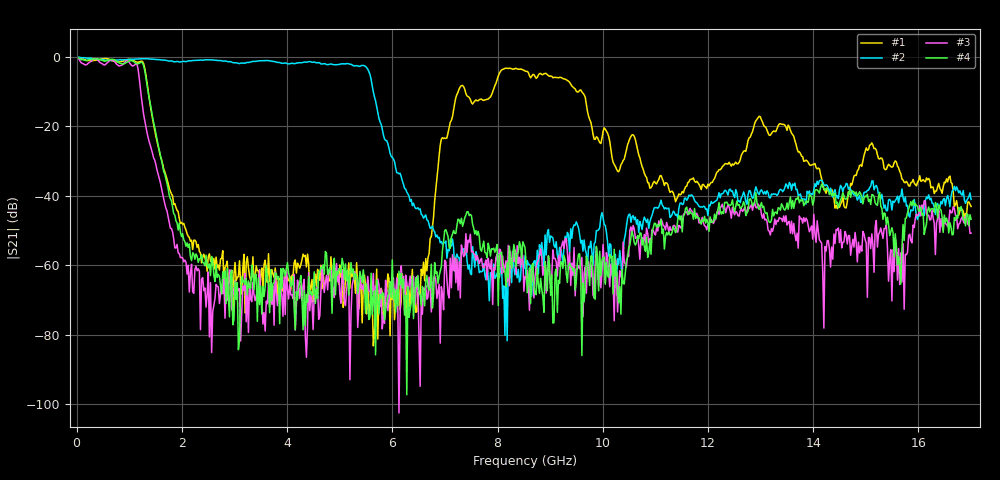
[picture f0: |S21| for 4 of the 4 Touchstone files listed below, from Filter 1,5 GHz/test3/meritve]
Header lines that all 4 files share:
! Touchstone 1.1 file saved by VNA.EXE V1.65 (www.ke5fx.com/gpib/readme.htm)
!  Source: HP8510C.07.14: Aug 26  1998
!  Min freq: 4.500000E+007 Hz
!  Max freq: 1.700000E+010 Hz
!  Points: 801
!  Params: S11 S21 S12 S22
# GHZ S DB R 50
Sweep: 45 MHz to 17 GHz
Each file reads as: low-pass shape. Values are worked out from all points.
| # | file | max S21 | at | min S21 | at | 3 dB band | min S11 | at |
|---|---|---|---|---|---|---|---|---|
| 1 | 2_1_5G_7red.S2P | -0.10 dB | 45 MHz | -83.2 dB | 5.64 GHz | 45 MHz-1.274 GHz | -35.8 dB | 553.6 MHz |
| 2 | 2_8G_13red.S2P | -0.06 dB | 45 MHz | -81.8 dB | 8.183 GHz | 45 MHz-5.513 GHz | -31.5 dB | 1.338 GHz |
| 3 | 2_full_15mm.S2P | -0.57 dB | 341.7 MHz | -102.6 dB | 6.128 GHz | 45 MHz-1.168 GHz | -24.4 dB | 956.3 MHz |
| 4 | 2_full_25mm.S2P | -0.27 dB | 45 MHz | -97.3 dB | 6.276 GHz | 45 MHz-1.274 GHz | -31.5 dB | 14.41 GHz |
